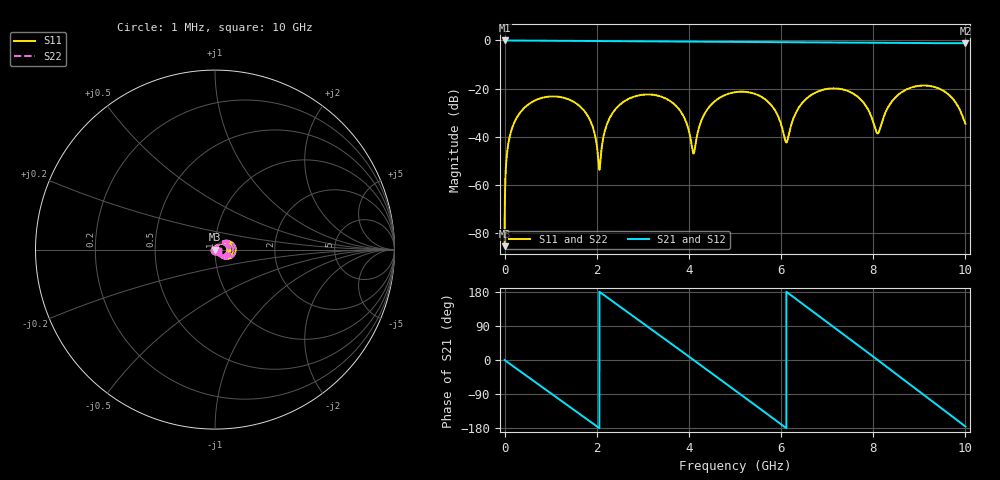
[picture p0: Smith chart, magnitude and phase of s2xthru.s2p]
!Created with skrf (http://scikit-rf.org).
# GHz S RI R 50.0
!freq ReS11 ImS11 ReS21 ImS21 ReS12 ImS12 ReS22 ImS22
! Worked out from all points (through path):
!   10000 points, 1 MHz to 10 GHz, reference 50 ohm
!   highest |S21| = 0.00 dB at 1 MHz (marker M1); lowest = -1.2 dB at 10 GHz (marker M2)
!   group delay of S21, straight-line fit = 248 ps
!   lowest |S11| = -85.6 dB at 1 MHz (marker M3), VSWR 1.00, Z = 50 + j0.00524 ohm
!   |S11| at or under -10 dB: start of sweep to end of sweep
!   |S22| runs from -85.6 to -18.8 dB; largest |S21 - S12| = 4e-16
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0.001  2.41e-06 5.24e-05  0.9999 -0.00158  0.9999 -0.00158  2.41e-06 5.24e-05
0.096  0.00135 0.00833  0.9872 -0.1477  0.9872 -0.1477  0.00135 0.00833
0.354  0.0173 0.0281  0.8506 -0.5143  0.8506 -0.5143  0.0173 0.0281
1.011  0.0684 0.0018  0.0262 -0.983  0.0262 -0.983  0.0684 0.0018
1.668  0.0235 -0.0321  -0.8072 -0.549  -0.8072 -0.549  0.0235 -0.0321
1.9  0.00588 -0.0162  -0.9453 -0.2339  -0.9453 -0.2339  0.00588 -0.0162
2.059  0.00204 6.44e-05  -0.9719 0.000898  -0.9719 0.000898  0.00204 6.44e-05
2.214  0.00611 0.0161  -0.9423 0.2291  -0.9423 0.2291  0.00611 0.0161
2.439  0.0238 0.0324  -0.8064 0.5324  -0.8064 0.5324  0.0238 0.0324
3.334  0.066 -0.0253  0.3578 0.8836  0.3578 0.8836  0.066 -0.0253
3.826  0.0168 -0.0281  0.8637 0.3933  0.8637 0.3933  0.0168 -0.0281
4.101  0.00442 -6.14e-05  0.9461 0.00077  0.9461 0.00077  0.00442 -6.14e-05
4.412  0.0214 0.0315  0.8341 -0.437  0.8341 -0.437  0.0214 0.0315
5.001  0.0828 0.0134  0.1602 -0.9179  0.1602 -0.9179  0.0828 0.0134
5.715  0.0357 -0.0395  -0.7476 -0.5448  -0.7476 -0.5448  0.0357 -0.0395
6.114  0.00757 -0.000107  -0.9215 -0.00115  -0.9215 -0.00115  0.00757 -0.000107
6.667  0.0605 0.0436  -0.5863 0.6991  -0.5863 0.6991  0.0605 0.0436
7.39  0.0857 -0.0359  0.3872 0.8151  0.3872 0.8151  0.0857 -0.0359
8.089  0.0116 -0.0011  0.898 0.0102  0.898 0.0102  0.0116 -0.0011
8.334  0.0258 0.0339  0.8298 -0.334  0.8298 -0.334  0.0258 0.0339
9.137  0.1148 -0.00998  -0.0867 -0.8758  -0.0867 -0.8758  0.1148 -0.00998
10  0.0166 -0.00813  -0.8733 -0.068  -0.8733 -0.068  0.0166 -0.00813
